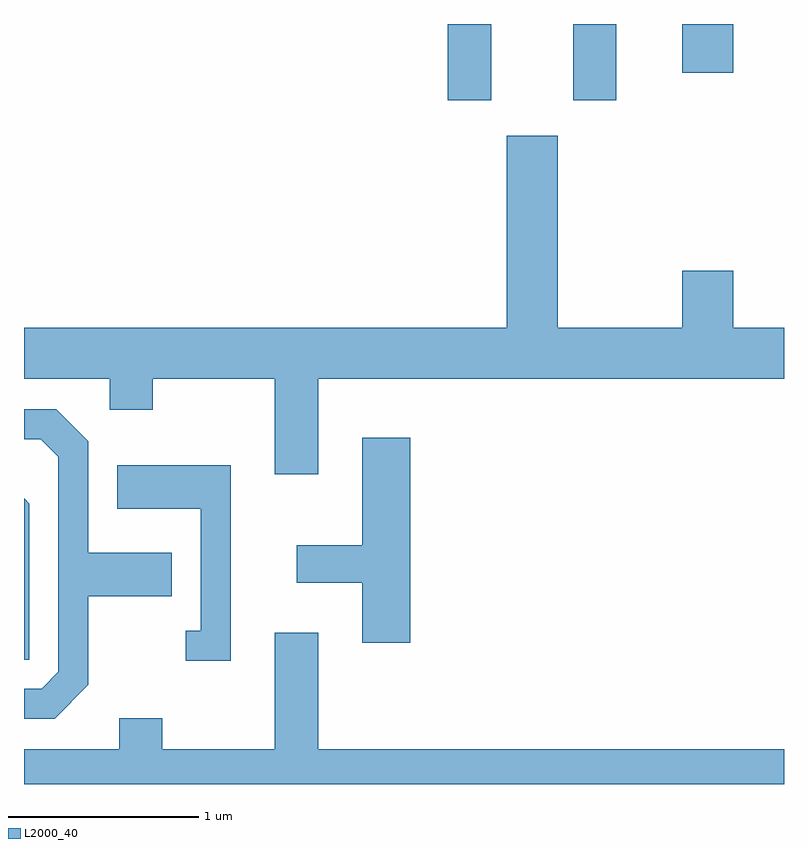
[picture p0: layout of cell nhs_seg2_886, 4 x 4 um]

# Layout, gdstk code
import gdstk
lib = gdstk.Library(unit=1e-6, precision=1e-09)
def R(c, l, rs):  # rectangles x0, y0, x1, y1
    for r in rs: c.add(gdstk.rectangle(r[:2], r[2:], *l))
def P(c, l, *ps):  # polygons
    for p in ps: c.add(gdstk.Polygon(p, *l))
L2000_40 = (2000, 40)

nhs_seg2_886 = lib.new_cell('nhs_seg2_886')
R(nhs_seg2_886, L2000_40, [(213.841,985.401,214.069,985.802), (214.501,985.401,214.729,985.802), (215.076,985.546,215.344,985.802)])
P(nhs_seg2_886, L2000_40, [(215.076,984.504),(215.076,984.204),(214.419,984.204),(214.419,985.214),(214.151,985.214),(214.151,984.204),(211.611,984.204),(211.611,983.936),(212.061,983.936),(212.061,983.771),(212.289,983.771),(212.289,983.936),(212.931,983.936),(212.931,983.431),(213.159,983.431),(213.159,983.936),(215.611,983.936),(215.611,984.204),(215.344,984.204),(215.344,984.504)],
  [(211.949,982.324),(211.949,982.791),(212.389,982.791),(212.389,983.019),(211.949,983.019),(211.949,983.607),(211.782,983.774),(211.611,983.774),(211.611,983.616),(211.699,983.616),(211.791,983.524),(211.791,982.392),(211.704,982.304),(211.611,982.304),(211.611,982.146),(211.772,982.146)],
  [(213.644,983.624),(213.391,983.624),(213.391,983.059),(213.046,983.059),(213.046,982.861),(213.391,982.861),(213.391,982.546),(213.644,982.546)],
  [(212.699,983.479),(212.101,983.479),(212.101,983.251),(212.541,983.251),(212.541,982.609),(212.463,982.609),(212.463,982.451),(212.699,982.451)],
  [(211.639,983.277),(211.611,983.305),(211.611,982.456),(211.639,982.456)],
  [(215.611,981.984),(213.159,981.984),(213.159,982.599),(212.931,982.599),(212.931,981.984),(212.339,981.984),(212.339,982.149),(212.111,982.149),(212.111,981.984),(211.611,981.984),(211.611,981.802),(215.611,981.802)])

lib.write_gds('nhs_seg2_886.gds')
